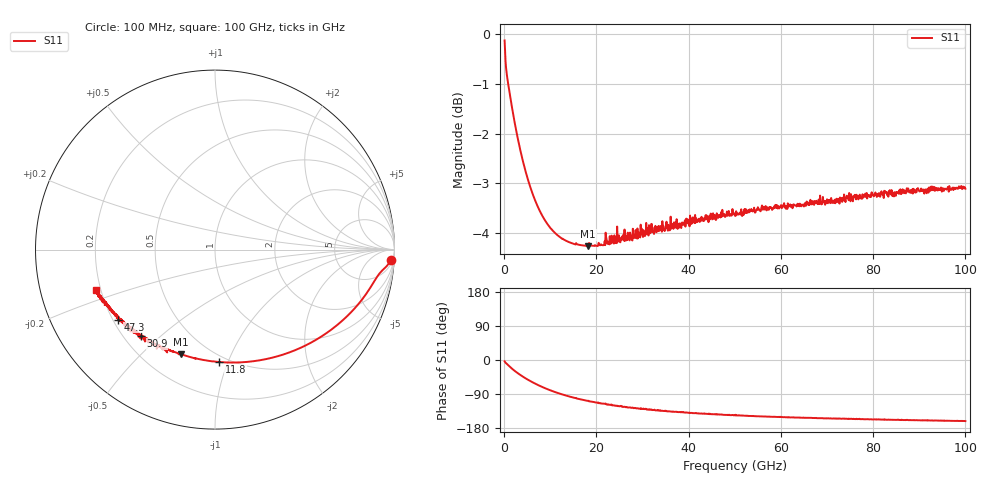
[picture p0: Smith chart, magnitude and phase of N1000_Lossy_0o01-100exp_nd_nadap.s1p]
! Sonnet Data File
! From: em Version : 18.56
! From Project: N1000_Lossy_0o01-100exp_nd_nadap
! Data is De-embedded
! Data File Written: 03/04/2023 10:16:55
!< HDATE 03/04/2023 09:39:06
!< MDATE 03/04/2023 09:39:06
# GHZ S MA R 50.00000
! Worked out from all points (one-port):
!   1000 points, 100 MHz to 100 GHz, reference 50 ohm
!   lowest |S11| = -4.3 dB at 18.2 GHz (marker M1), VSWR 4.16, Z = 17.8 - j33.3 ohm
!   |S11| at or under -10 dB: nowhere
!   S11 on the Smith chart (normalised r, x): 100 MHz: 8, -31; 11.8 GHz: 0.45, -0.93; 30.9 GHz: 0.27, -0.43; 47.3 GHz: 0.22, -0.31; 100 GHz: 0.18, -0.16
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0.1  0.9851 -3.4
0.4  0.9263 -8.2
1.3  0.866 -18.6
2.1  0.8235 -26.9
2.6  0.8004 -31.6
3.2  0.7758 -36.9
4.4  0.7351 -46.5
6  0.6947 -57.8
7.9  0.6619 -69.2
9.8  0.6407 -79.0
11.8  0.6269 -87.8
12.6  0.6227 -90.6
14.9  0.6162 -98.9
18.2  0.6124 -107.9
22.6  0.6183 -118.0
25.1  0.6184 -121.9
26.4  0.6276 -124.7
30.9  0.6337 -130.7
34  0.6417 -133.8
37.6  0.6374 -136.9
40.8  0.6543 -140.0
47.3  0.666 -144.2
50.1  0.6592 -146.0
56.3  0.6709 -149.0
62.6  0.6697 -151.6
75.1  0.6793 -155.5
87.6  0.6998 -158.4
100  0.6994 -161.2
